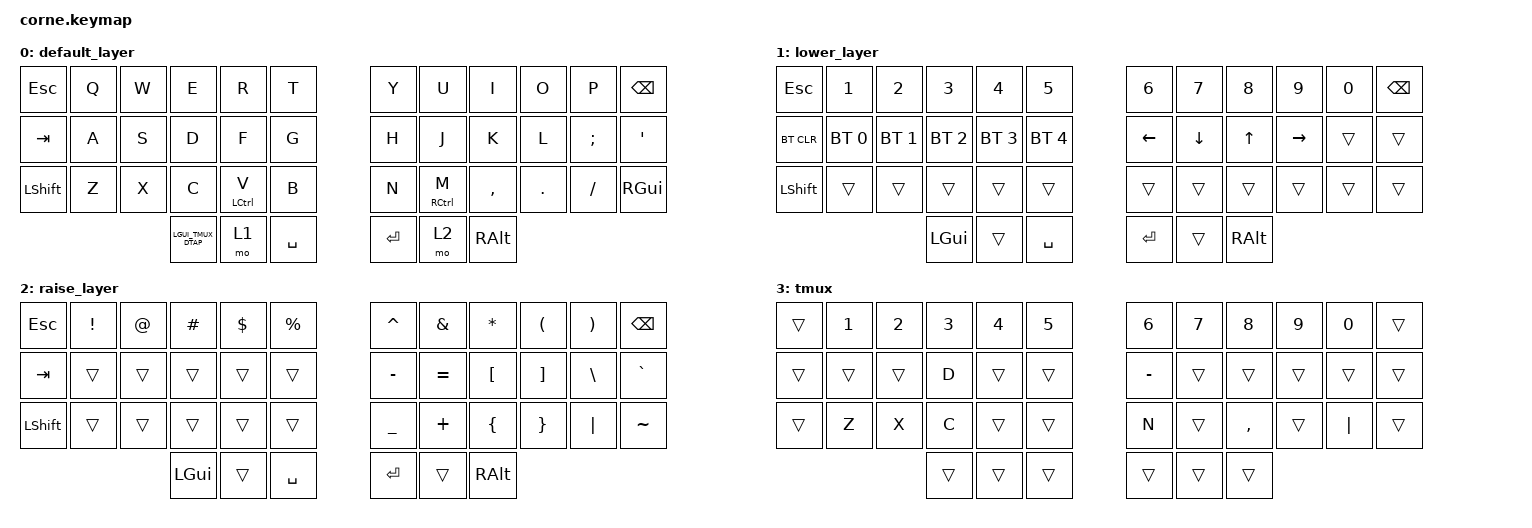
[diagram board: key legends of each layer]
/*
 * Copyright (c) 2020 The ZMK Contributors
 *
 * SPDX-License-Identifier: MIT
 */

#include <behaviors.dtsi>
#include <dt-bindings/zmk/bt.h>
#include <dt-bindings/zmk/keys.h>

/ {
    behaviors {
        HOME_ROW_R: HOME_ROW_R {
            compatible = "zmk,behavior-hold-tap";
            label = "HOME_ROW_R";
            bindings = <&kp>, <&kp>;

            #binding-cells = <2>;
            tapping-term-ms = <200>;
            flavor = "tap-preferred";
            hold-trigger-key-positions = <0 0 1 2 3 4 5 12 13 14 15 16 17 24 25 26 27 28 29 36 37 38>;
            hold-trigger-on-release;
        };

        HOME_ROW_L: HOME_ROW_L {
            compatible = "zmk,behavior-hold-tap";
            label = "HOME_ROW_L";
            bindings = <&kp>, <&kp>;

            #binding-cells = <2>;
            tapping-term-ms = <200>;
            flavor = "tap-preferred";
            hold-trigger-on-release;
            hold-trigger-key-positions = <6 7 8 9 10 11 18 19 20 21 22 23 30 31 32 33 34 35 39 40 41>;
        };

        LGUI_TMUX_DTAP: LGUI_TMUX_DTAP {
            compatible = "zmk,behavior-tap-dance";
            label = "LGUI_TMUX_DTAP";
            #binding-cells = <0>;
            bindings = <&kp LEFT_GUI>, <&TMUX>;
        };
    };

    macros {
        TMUX: TMUX {
            compatible = "zmk,behavior-macro";
            #binding-cells = <0>;
            bindings = <&kp LC(B) &sl 3>;
            label = "TMUX";
        };
    };

    keymap {
        compatible = "zmk,keymap";

        default_layer {
            // ----------------------------------------------------------------------------------
            // | ESC  |  Q  |  W  |  E  |   R   |  T  |   |  Y  |   U   |  I  |  O  |  P  | BSPC |
            // | TAB  |  A  |  S  |  D  |   F   |  G  |   |  H  |   J   |  K  |  L  |  ;  |  '   |
            // | SHFT |  Z  |  X  |  C  | V/CTL |  B  |   |  N  | M/CTL |  ,  |  .  |  /  | RGUI |
            //                    | GUI/TMUX | LWR | SPC |   | ENT | RSE | ALT |

            bindings = <
&kp ESC    &kp Q  &kp W  &kp E            &kp R                &kp T        &kp Y    &kp U                &kp I      &kp O    &kp P     &kp BSPC
&kp TAB    &kp A  &kp S  &kp D            &kp F                &kp G        &kp H    &kp J                &kp K      &kp L    &kp SEMI  &kp SQT
&kp LSHFT  &kp Z  &kp X  &kp C            &HOME_ROW_L LCTRL V  &kp B        &kp N    &HOME_ROW_R RCTRL M  &kp COMMA  &kp DOT  &kp FSLH  &kp RIGHT_GUI
                         &LGUI_TMUX_DTAP  &mo 1                &kp SPACE    &kp RET  &mo 2                &kp RALT
            >;
        };

        lower_layer {
            // ----------------------------------------------------------------------------------
            // |  ESC |  1  |  2  |  3  |  4  |  5  |   |  6  |  7  |  8  |  9  |  0  | BSPC |
            // | BTCLR| BT1 | BT2 | BT3 | BT4 | BT5 |   | LFT | DWN |  UP | RGT |     |      |
            // | SHFT |     |     |     |     |     |   |     |     |     |     |     |      |
            //                    | GUI |     | SPC |   | ENT |     | ALT |

            bindings = <
&kp ESCAPE  &kp N1        &kp N2        &kp N3        &kp N4        &kp N5          &kp N6    &kp N7    &kp N8    &kp N9     &kp N0  &kp BSPC
&bt BT_CLR  &bt BT_SEL 0  &bt BT_SEL 1  &bt BT_SEL 2  &bt BT_SEL 3  &bt BT_SEL 4    &kp LEFT  &kp DOWN  &kp UP    &kp RIGHT  &trans  &trans
&kp LSHFT   &trans        &trans        &trans        &trans        &trans          &trans    &trans    &trans    &trans     &trans  &trans
                                        &kp LGUI      &trans        &kp SPACE       &kp RET   &trans    &kp RALT
            >;
        };

        raise_layer {
            // ----------------------------------------------------------------------------------
            // |  ESC |  !  |  @  |  #  |  $  |  %  |   |  ^  |  &  |  *  |  (  |  )  | BSPC |
            // |  TAB |     |     |     |     |     |   |  -  |  =  |  [  |  ]  |  \  |  `   |
            // | SHFT |     |     |     |     |     |   |  _  |  +  |  {  |  }  |  |  |  ~   |
            //                    | GUI |     | SPC |   | ENT |     | ALT |

            bindings = <
&kp ESCAPE  &kp EXCL  &kp AT  &kp HASH  &kp DLLR  &kp PRCNT    &kp CARET  &kp AMPS   &kp ASTRK  &kp LPAR  &kp RPAR  &kp BSPC
&kp TAB     &trans    &trans  &trans    &trans    &trans       &kp MINUS  &kp EQUAL  &kp LBKT   &kp RBKT  &kp BSLH  &kp GRAVE
&kp LSHFT   &trans    &trans  &trans    &trans    &trans       &kp UNDER  &kp PLUS   &kp LBRC   &kp RBRC  &kp PIPE  &kp TILDE
                              &kp LGUI  &trans    &kp SPACE    &kp RET    &trans     &kp RALT
            >;
        };

        tmux {
            // ----------------------------------------------------------------------------------
            // |      |  1  |  2  |  3  |  4  |  5  |   |  6  |  7  |  8  |  9  |  0  |      |
            // |      |     |     |  D  |     |     |   |  -  |     |     |     |     |      |
            // |      |  Z  |  X  |  C  |     |     |   |  N  |     |  ,  |     |  |  |      |
            //                    |     |     |     |   |     |     |     |

            bindings = <
&trans  &kp N1  &kp N2  &kp N3  &kp N4  &kp N5    &kp N6     &kp N7  &kp N8     &kp N9  &kp N0    &trans
&trans  &trans  &trans  &kp D   &trans  &trans    &kp MINUS  &trans  &trans     &trans  &trans    &trans
&trans  &kp Z   &kp X   &kp C   &trans  &trans    &kp N      &trans  &kp COMMA  &trans  &kp PIPE  &trans
                        &trans  &trans  &trans    &trans     &trans  &trans
            >;
        };
    };
};
